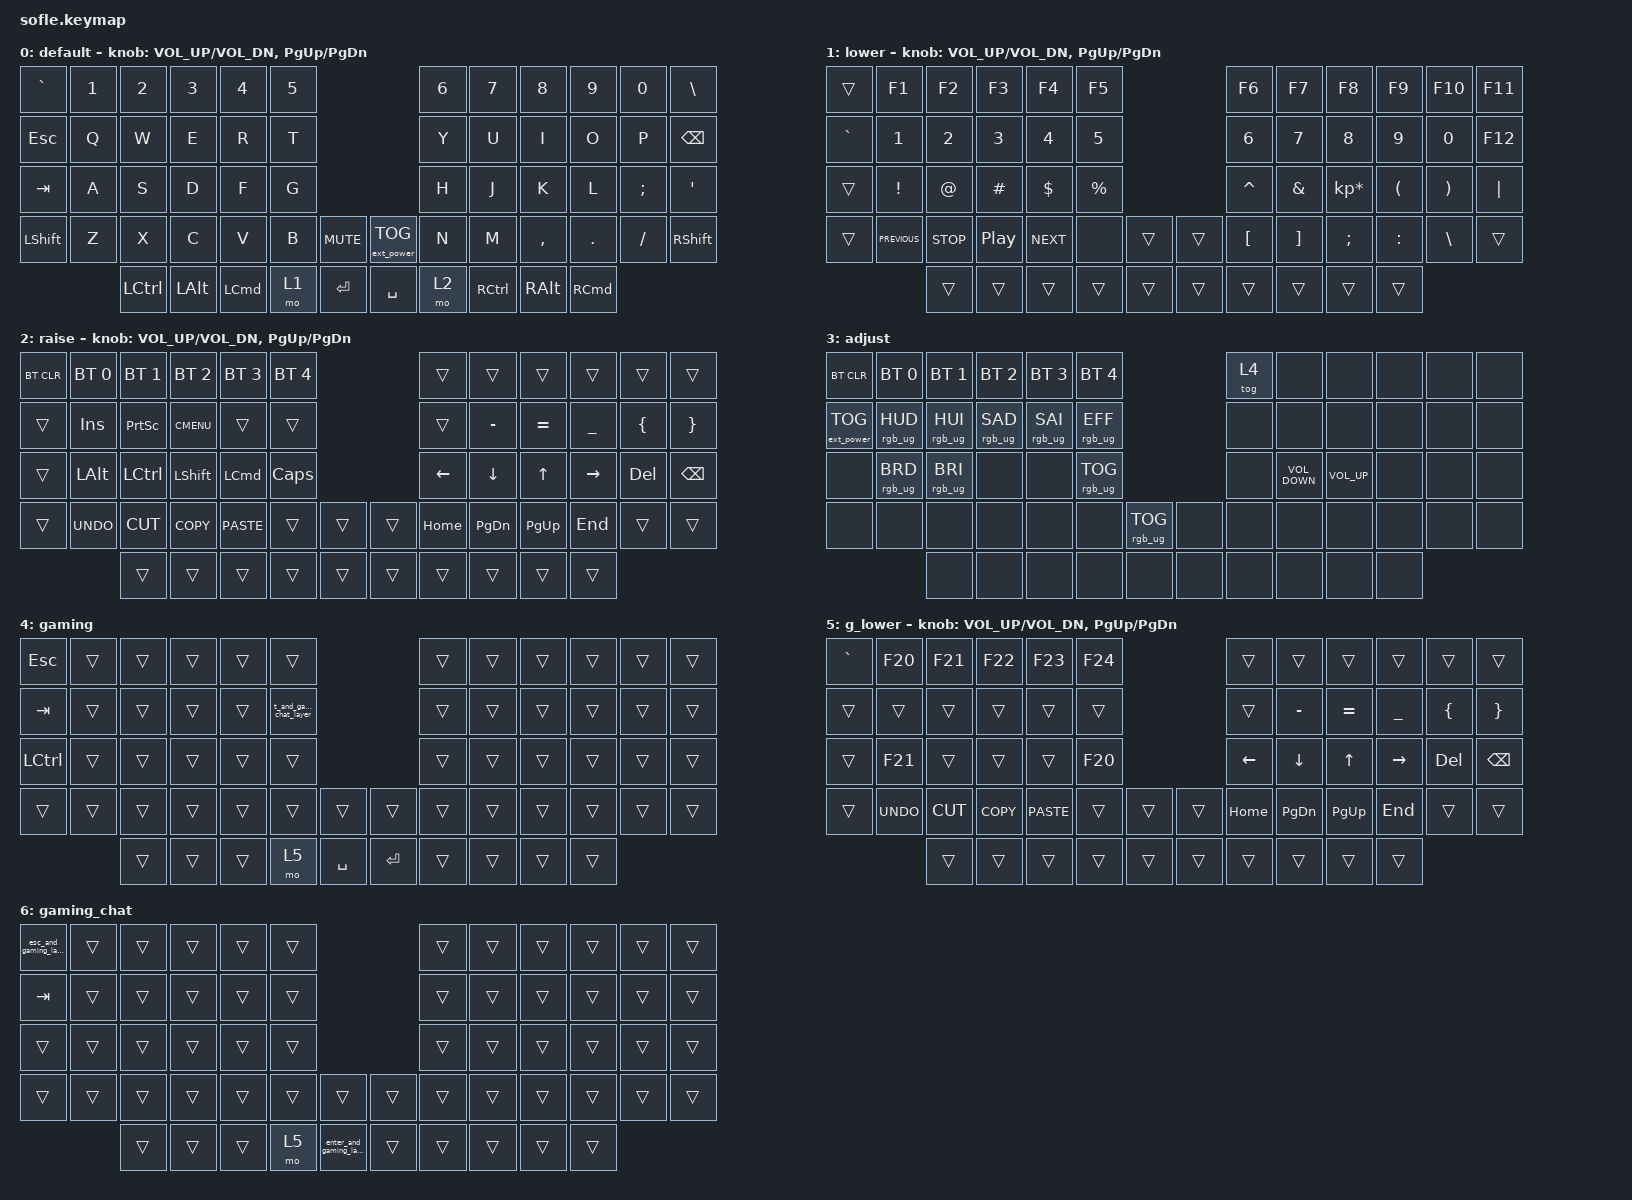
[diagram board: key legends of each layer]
/*
 * Copyright (c) 2020 The ZMK Contributors
 *
 * SPDX-License-Identifier: MIT
 */

#include <behaviors.dtsi>
#include <dt-bindings/zmk/bt.h>
#include <dt-bindings/zmk/ext_power.h>
#include <dt-bindings/zmk/keys.h>
#include <dt-bindings/zmk/rgb.h>

/ {
    macros {
        enter_and_gaming_layer: enter_and_back_to_gaming_layer {
            compatible = "zmk,behavior-macro";
            #binding-cells = <0>;
            bindings = <&none &kp ENTER &to 4>;
            label = "ENTER_AND_BACK_TO_GAMING_LAYER";
        };

        t_and_gaming_chat_layer: t_and_gaming_chat_layer {
            compatible = "zmk,behavior-macro";
            #binding-cells = <0>;
            bindings = <&none &kp T &to 6>;
            label = "T_AND_GAMING_CHAT_LAYER";
        };

        esc_and_gaming_layer: esc_and_gaming_layer {
            compatible = "zmk,behavior-macro";
            #binding-cells = <0>;
            bindings = <&none &kp ESC &to 4>;
            label = "ESC_AND_GAMING_LAYER";
        };
    };

    keymap {
        compatible = "zmk,keymap";

        default_layer {
            bindings = <
&kp GRAVE  &kp N1  &kp N2     &kp N3    &kp N4    &kp N5                                   &kp N6  &kp N7     &kp N8     &kp N9    &kp N0    &kp BACKSLASH
&kp ESC    &kp Q   &kp W      &kp E     &kp R     &kp T                                    &kp Y   &kp U      &kp I      &kp O     &kp P     &kp BSPC
&kp TAB    &kp A   &kp S      &kp D     &kp F     &kp G                                    &kp H   &kp J      &kp K      &kp L     &kp SEMI  &kp SQT
&kp LSHFT  &kp Z   &kp X      &kp C     &kp V     &kp B   &kp C_MUTE    &ext_power EP_TOG  &kp N   &kp M      &kp COMMA  &kp DOT   &kp FSLH  &kp RSHFT
                   &kp LCTRL  &kp LALT  &kp LCMD  &mo 1   &kp ENTER     &kp SPACE          &mo 2   &kp RCTRL  &kp RALT   &kp RCMD
            >;

            sensor-bindings = <&inc_dec_kp C_VOL_UP C_VOL_DN &inc_dec_kp PG_UP PG_DN>;
            label = "default";
        };

        lower_layer {
            bindings = <
&trans     &kp F1          &kp F2      &kp F3            &kp F4      &kp F5                       &kp F6     &kp F7    &kp F8           &kp F9     &kp F10   &kp F11
&kp GRAVE  &kp N1          &kp N2      &kp N3            &kp N4      &kp N5                       &kp N6     &kp N7    &kp N8           &kp N9     &kp N0    &kp F12
&trans     &kp EXCL        &kp AT      &kp HASH          &kp DLLR    &kp PRCNT                    &kp CARET  &kp AMPS  &kp KP_MULTIPLY  &kp LPAR   &kp RPAR  &kp PIPE
&trans     &kp C_PREVIOUS  &kp C_STOP  &kp C_PLAY_PAUSE  &kp C_NEXT  &none      &trans    &trans  &kp LBKT   &kp RBKT  &kp SEMI         &kp COLON  &kp BSLH  &trans
                           &trans      &trans            &trans      &trans     &trans    &trans  &trans     &trans    &trans           &trans
            >;

            sensor-bindings = <&inc_dec_kp C_VOL_UP C_VOL_DN &inc_dec_kp PG_UP PG_DN>;
            label = "lower";
        };

        raise_layer {
            bindings = <
&bt BT_CLR  &bt BT_SEL 0  &bt BT_SEL 1  &bt BT_SEL 2  &bt BT_SEL 3  &bt BT_SEL 4                    &trans          &trans          &trans        &trans          &trans          &trans
&trans      &kp INS       &kp PSCRN     &kp K_CMENU   &trans        &trans                          &trans          &kp MINUS       &kp EQUAL     &kp UNDERSCORE  &kp LEFT_BRACE  &kp RIGHT_BRACE
&trans      &kp LALT      &kp LCTRL     &kp LSHFT     &kp LCMD      &kp CLCK                        &kp LEFT_ARROW  &kp DOWN_ARROW  &kp UP_ARROW  &kp RIGHT       &kp DEL         &kp BSPC
&trans      &kp K_UNDO    &kp K_CUT     &kp K_COPY    &kp K_PASTE   &trans        &trans    &trans  &kp HOME        &kp PAGE_DOWN   &kp PAGE_UP   &kp END         &trans          &trans
                          &trans        &trans        &trans        &trans        &trans    &trans  &trans          &trans          &trans        &trans
            >;

            sensor-bindings = <&inc_dec_kp C_VOL_UP C_VOL_DN &inc_dec_kp PG_UP PG_DN>;
            label = "raise";
        };

        adjust_layer {
            label = "adjust";
            bindings = <
&bt BT_CLR         &bt BT_SEL 0     &bt BT_SEL 1     &bt BT_SEL 2     &bt BT_SEL 3     &bt BT_SEL 4                               &tog 4  &none              &none            &none  &none  &none
&ext_power EP_TOG  &rgb_ug RGB_HUD  &rgb_ug RGB_HUI  &rgb_ug RGB_SAD  &rgb_ug RGB_SAI  &rgb_ug RGB_EFF                            &none   &none              &none            &none  &none  &none
&none              &rgb_ug RGB_BRD  &rgb_ug RGB_BRI  &none            &none            &rgb_ug RGB_TOG                            &none   &kp C_VOLUME_DOWN  &kp C_VOLUME_UP  &none  &none  &none
&none              &none            &none            &none            &none            &none            &rgb_ug RGB_TOG    &none  &none   &none              &none            &none  &none  &none
                                    &none            &none            &none            &none            &none              &none  &none   &none              &none            &none
            >;
        };

        gaming_layer {
            bindings = <
&kp ESC           &trans  &trans  &trans  &trans  &trans                                            &trans  &trans  &trans  &trans  &trans  &trans
&kp TAB           &trans  &trans  &trans  &trans  &t_and_gaming_chat_layer                          &trans  &trans  &trans  &trans  &trans  &trans
&kp LEFT_CONTROL  &trans  &trans  &trans  &trans  &trans                                            &trans  &trans  &trans  &trans  &trans  &trans
&trans            &trans  &trans  &trans  &trans  &trans                    &trans       &trans     &trans  &trans  &trans  &trans  &trans  &trans
                          &trans  &trans  &trans  &mo 5                     &kp SPACE    &kp ENTER  &trans  &trans  &trans  &trans
            >;

            label = "gaming";
        };

        gaming_layer_lower {
            label = "g_lower";
            bindings = <
&kp GRAVE  &kp F20     &kp F21    &kp F22     &kp F23      &kp F24                    &trans          &trans          &trans        &trans          &trans          &trans
&trans     &trans      &trans     &trans      &trans       &trans                     &trans          &kp MINUS       &kp EQUAL     &kp UNDERSCORE  &kp LEFT_BRACE  &kp RIGHT_BRACE
&trans     &kp F21     &trans     &trans      &trans       &kp F20                    &kp LEFT_ARROW  &kp DOWN_ARROW  &kp UP_ARROW  &kp RIGHT       &kp DEL         &kp BSPC
&trans     &kp K_UNDO  &kp K_CUT  &kp K_COPY  &kp K_PASTE  &trans   &trans    &trans  &kp HOME        &kp PAGE_DOWN   &kp PAGE_UP   &kp END         &trans          &trans
                       &trans     &trans      &trans       &trans   &trans    &trans  &trans          &trans          &trans        &trans
            >;

            sensor-bindings =
                <&inc_dec_kp C_VOL_UP C_VOL_DN>,
                <&inc_dec_kp PG_UP PG_DN>;
        };

        gaming_chat_layer {
            label = "gaming_chat";
            bindings = <
&esc_and_gaming_layer  &trans  &trans  &trans  &trans  &trans                                     &trans  &trans  &trans  &trans  &trans  &trans
&kp TAB                &trans  &trans  &trans  &trans  &trans                                     &trans  &trans  &trans  &trans  &trans  &trans
&trans                 &trans  &trans  &trans  &trans  &trans                                     &trans  &trans  &trans  &trans  &trans  &trans
&trans                 &trans  &trans  &trans  &trans  &trans  &trans                     &trans  &trans  &trans  &trans  &trans  &trans  &trans
                               &trans  &trans  &trans  &mo 5   &enter_and_gaming_layer    &trans  &trans  &trans  &trans  &trans
            >;
        };
    };

    conditional_layers {
        compatible = "zmk,conditional-layers";

        activateadjust {
            if-layers = <1 2>;
            then-layer = <3>;
        };

        activated_adjust_gaming {
            if-layers = <5 2>;
            then-layer = <3>;
        };
    };
};

